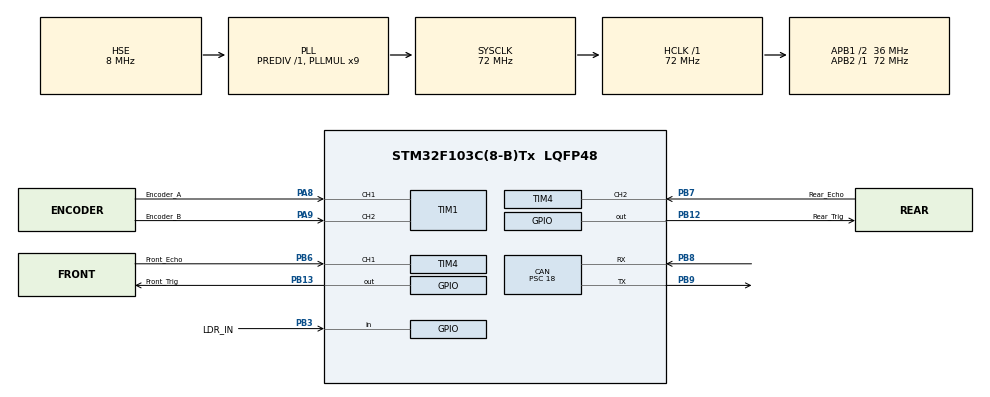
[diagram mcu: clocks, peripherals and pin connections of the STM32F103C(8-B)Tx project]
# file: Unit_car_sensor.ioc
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CAN.ABOM=ENABLE
CAN.BS1=CAN_BS1_2TQ
CAN.CalculateBaudRate=500000
CAN.CalculateTimeBit=2000
CAN.CalculateTimeQuantum=500.0
CAN.NART=ENABLE
CAN.Prescaler=18
CAN.SJW=CAN_SJW_2TQ
FREERTOS.Queues01=CANTxQueue,4,SensorData_t,0,Dynamic,NULL,NULL
FREERTOS.Tasks01=SensorTask,40,256,StartSensorTask,Default,NULL,Dynamic,NULL,NULL;CANTask,24,128,StartCANTask,Default,NULL,Dynamic,NULL,NULL
FREERTOS.configUSE_NEWLIB_REENTRANT=1
Mcu.Family=STM32F1
Mcu.Name=STM32F103C(8-B)Tx
Mcu.Package=LQFP48
NVIC.PriorityGroup=NVIC_PRIORITYGROUP_4
NVIC.TIM3_IRQn=true\:15\:0\:false\:false\:true\:false\:false\:true\:true
NVIC.TIM4_IRQn=true\:5\:0\:false\:false\:true\:true\:true\:true\:true
NVIC.TimeBase=TIM3_IRQn
NVIC.TimeBaseIP=TIM3
PA13.Mode=Serial_Wire
PA13.Signal=SYS_JTMS-SWDIO
PA14.Mode=Serial_Wire
PA14.Signal=SYS_JTCK-SWCLK
PA8.GPIO_Label=Encoder_A
PA8.Signal=S_TIM1_CH1
PA9.GPIO_Label=Encoder_B
PA9.Signal=S_TIM1_CH2
PB12.GPIO_Label=Rear_Trig
PB12.Signal=GPIO_Output
PB13.GPIO_Label=Front_Trig
PB13.Signal=GPIO_Output
PB3.GPIO_Label=LDR_IN
PB3.Signal=GPIO_Input
PB6.GPIO_Label=Front_Echo
PB6.Signal=S_TIM4_CH1
PB7.GPIO_Label=Rear_Echo
PB7.Signal=S_TIM4_CH2
PB8.Mode=CAN_Activate
PB8.Signal=CAN_RX
PB9.Mode=CAN_Activate
PB9.Signal=CAN_TX
PD0-OSC_IN.Mode=HSE-External-Oscillator
PD0-OSC_IN.Signal=RCC_OSC_IN
PD1-OSC_OUT.Mode=HSE-External-Oscillator
PD1-OSC_OUT.Signal=RCC_OSC_OUT
ProjectManager.HeapSize=0x200
ProjectManager.StackSize=0x400
ProjectManager.TargetToolchain=STM32CubeIDE
RCC.AHBFreq_Value=72000000
RCC.APB1CLKDivider=RCC_HCLK_DIV2
RCC.APB1Freq_Value=36000000
RCC.APB1TimFreq_Value=72000000
RCC.APB2Freq_Value=72000000
RCC.APB2TimFreq_Value=72000000
RCC.HCLKFreq_Value=72000000
RCC.PLLMUL=RCC_PLL_MUL9
RCC.PLLSourceVirtual=RCC_PLLSOURCE_HSE
RCC.SYSCLKFreq_VALUE=72000000
RCC.SYSCLKSource=RCC_SYSCLKSOURCE_PLLCLK
RCC.USBFreq_Value=72000000
SH.S_TIM1_CH1.0=TIM1_CH1,Encoder_Interface
SH.S_TIM1_CH2.0=TIM1_CH2,Encoder_Interface
SH.S_TIM4_CH1.0=TIM4_CH1,Input_Capture1_from_TI1
SH.S_TIM4_CH2.0=TIM4_CH2,Input_Capture2_from_TI2
TIM1.EncoderMode=TIM_ENCODERMODE_TI12
TIM1.IC1Filter=0
TIM1.IC2Filter=0
TIM2.Prescaler=72-1
TIM4.Channel-Input_Capture1_from_TI1=TIM_CHANNEL_1
TIM4.Channel-Input_Capture2_from_TI2=TIM_CHANNEL_2
TIM4.Prescaler=72-1
VP_FREERTOS_VS_CMSIS_V2.Mode=CMSIS_V2
VP_SYS_VS_tim3.Mode=TIM3
VP_TIM2_VS_ClockSourceINT.Mode=Internal
board=custom

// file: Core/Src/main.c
/* USER CODE BEGIN Header */
/**
  ******************************************************************************
  * @file           : main.c
  * @brief          : Main program body
  ******************************************************************************
  * @attention
  *
  * Copyright (c) 2025 STMicroelectronics.
  * All rights reserved.
  *
  * This software is licensed under terms that can be found in the LICENSE file
  * in the root directory of this software component.
  * If no LICENSE file comes with this software, it is provided AS-IS.
  *
  ******************************************************************************
  */
/* USER CODE END Header */
#include "main.h"
#include "cmsis_os.h"
#include "can.h"
#include "tim.h"
#include "gpio.h"

/* USER CODE BEGIN Includes */
#include "can_handler.h"
#include "ultrasonic.h"
#include "motor_encoder.h"
/* USER CODE END Includes */

void SystemClock_Config(void);
void MX_FREERTOS_Init(void);

int main(void)
{

  /* MCU Configuration--------------------------------------------------------*/

  /* Reset of all peripherals, Initializes the Flash interface and the Systick. */
  HAL_Init();

  /* Configure the system clock */
  SystemClock_Config();

  /* Initialize all configured peripherals */
  MX_GPIO_Init();
  MX_CAN_Init();
  MX_TIM2_Init();
  MX_TIM4_Init();
  MX_TIM1_Init();
  /* USER CODE BEGIN 2 */
  // RPM 계산에 사용할 정밀 타이머(DWT)를 초기화한다.
  DWT_Init();
  /* USER CODE END 2 */

  /* Init scheduler */
  osKernelInitialize();

  /* Call init function for freertos objects (in cmsis_os2.c) */
  MX_FREERTOS_Init();

  /* Start scheduler */
  osKernelStart();

  /* We should never get here as control is now taken by the scheduler */

  /* Infinite loop */
  while (1)
  {

  }
}

void SystemClock_Config(void)
{
  RCC_OscInitTypeDef RCC_OscInitStruct = {0};
  RCC_ClkInitTypeDef RCC_ClkInitStruct = {0};

  /** Initializes the RCC Oscillators according to the specified parameters
  * in the RCC_OscInitTypeDef structure.
  */
  RCC_OscInitStruct.OscillatorType = RCC_OSCILLATORTYPE_HSE;
  RCC_OscInitStruct.HSEState = RCC_HSE_ON;
  RCC_OscInitStruct.HSEPredivValue = RCC_HSE_PREDIV_DIV1;
  RCC_OscInitStruct.HSIState = RCC_HSI_ON;
  RCC_OscInitStruct.PLL.PLLState = RCC_PLL_ON;
  RCC_OscInitStruct.PLL.PLLSource = RCC_PLLSOURCE_HSE;
  RCC_OscInitStruct.PLL.PLLMUL = RCC_PLL_MUL9;
  if (HAL_RCC_OscConfig(&RCC_OscInitStruct) != HAL_OK)
  {
    Error_Handler();
  }

  /** Initializes the CPU, AHB and APB buses clocks
  */
  RCC_ClkInitStruct.ClockType = RCC_CLOCKTYPE_HCLK|RCC_CLOCKTYPE_SYSCLK
                              |RCC_CLOCKTYPE_PCLK1|RCC_CLOCKTYPE_PCLK2;
  RCC_ClkInitStruct.SYSCLKSource = RCC_SYSCLKSOURCE_PLLCLK;
  RCC_ClkInitStruct.AHBCLKDivider = RCC_SYSCLK_DIV1;
  RCC_ClkInitStruct.APB1CLKDivider = RCC_HCLK_DIV2;
  RCC_ClkInitStruct.APB2CLKDivider = RCC_HCLK_DIV1;

  if (HAL_RCC_ClockConfig(&RCC_ClkInitStruct, FLASH_LATENCY_2) != HAL_OK)
  {
    Error_Handler();
  }
}

void HAL_TIM_PeriodElapsedCallback(TIM_HandleTypeDef *htim)
{
  if (htim->Instance == TIM3)
  {
    HAL_IncTick();
  }
}

void Error_Handler(void)
{
  __disable_irq();
  while (1)
  {
  }
}

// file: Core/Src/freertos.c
/* USER CODE BEGIN Header */
/**
  ******************************************************************************
  * File Name          : freertos.c
  * Description        : Code for freertos applications
  ******************************************************************************
  * @attention
  *
  * Copyright (c) 2025 STMicroelectronics.
  * All rights reserved.
  *
  * This software is licensed under terms that can be found in the LICENSE file
  * in the root directory of this software component.
  * If no LICENSE file comes with this software, it is provided AS-IS.
  *
  ******************************************************************************
  */
/* USER CODE END Header */

#include "FreeRTOS.h"
#include "task.h"
#include "main.h"
#include "cmsis_os.h"

/* USER CODE BEGIN Includes */
#include "can_handler.h"
#include "ultrasonic.h"
#include "motor_encoder.h"
#include "tim.h"
/* USER CODE END Includes */

/* Definitions for SensorTask */
osThreadId_t SensorTaskHandle;
const osThreadAttr_t SensorTask_attributes = {
  .name = "SensorTask",
  .stack_size = 256 * 4,
  .priority = (osPriority_t) osPriorityHigh,
};
/* Definitions for CANTask */
osThreadId_t CANTaskHandle;
const osThreadAttr_t CANTask_attributes = {
  .name = "CANTask",
  .stack_size = 128 * 4,
  .priority = (osPriority_t) osPriorityNormal,
};
/* Definitions for CANTxQueue */
osMessageQueueId_t CANTxQueueHandle;
const osMessageQueueAttr_t CANTxQueue_attributes = {
  .name = "CANTxQueue"
};

void StartSensorTask(void *argument);
void StartCANTask(void *argument);

void MX_FREERTOS_Init(void); /* (MISRA C 2004 rule 8.1) */

void MX_FREERTOS_Init(void) {

  /* Create the queue(s) */
  /* creation of CANTxQueue */
  CANTxQueueHandle = osMessageQueueNew (4, sizeof(SensorData_t), &CANTxQueue_attributes);

  /* Create the thread(s) */
  /* creation of SensorTask */
  SensorTaskHandle = osThreadNew(StartSensorTask, NULL, &SensorTask_attributes);

  /* creation of CANTask */
  CANTaskHandle = osThreadNew(StartCANTask, NULL, &CANTask_attributes);

}

/* USER CODE BEGIN Header_StartSensorTask */
/**
  * @brief SensorTask는 주기적으로 각종 센서 데이터를 수집하여 CANTask로 전달하는 역할을 한다.
  * @note 10ms 주기로 동작하며, 초음파 센서, 엔코더(RPM), 조도 센서 값을 읽어와 큐(Queue)를 통해 전송한다.
  */
/* USER CODE END Header_StartSensorTask */
void StartSensorTask(void *argument)
{
  /* USER CODE BEGIN StartSensorTask */
	// --- SensorTask 초기화 ---
	Ultrasonic_Init(); // 초음파 센서 관련 타이머(TIM2, TIM4)를 초기화하고 시작한다.
	HAL_TIM_Encoder_Start(&htim1, TIM_CHANNEL_ALL); // 엔코더 입력을 위한 타이머(TIM1)를 시작한다.

	// osDelayUntil을 사용하기 위한 변수
	uint32_t last_wake_time = osKernelGetTickCount();
	const uint32_t period_ms = 10; // 10ms 주기
  /* Infinite loop */
	for(;;)
	  {
	    // 정확한 주기를 유지하기 위해 osDelayUntil을 사용한다.
	    // 다음 깨어날 시간을 계산한 후, 그 시간까지 Task를 지연시킨다.
	    last_wake_time += period_ms;
	    osDelayUntil(last_wake_time);

	    // 센서 데이터 수집
	    Update_Motor_RPM();   // 엔코더 값을 읽어 RPM을 계산한다.
	    Ultrasonic_Trigger(); // 초음파 센서 거리 측정을 시작한다.

	    SensorData_t sensor_packet; // CANTask로 전송할 데이터 패킷 구조체

	    // 데이터 패킷 채우기
	    sensor_packet.light_condition = HAL_GPIO_ReadPin(GPIOB, GPIO_PIN_3); // 조도 센서 값(GPIO)을 읽는다.
	    sensor_packet.rpm = MotorControl_GetRPM(); // 계산된 RPM 값을 가져온다.

	    // ISR(ultrasonic.c의 콜백 함수)에서 변경되는 전역 변수에 안전하게 접근하기 위해 Critical Section으로 보호한다.
	    taskENTER_CRITICAL();
	    sensor_packet.distance_front = distance_front; // 전방 거리 값을 복사한다.
	    sensor_packet.distance_rear = distance_rear;   // 후방 거리 값을 복사한다.
	    taskEXIT_CRITICAL();

	    // 채워진 데이터 패킷을 큐(CANTxQueueHandle)로 전송한다.
	    osMessageQueuePut(CANTxQueueHandle, &sensor_packet, 0, 0);
	  }
  /* USER CODE END StartSensorTask */
}

/* USER CODE BEGIN Header_StartCANTask */
/**
* @brief CANTask는 SensorTask로부터 큐를 통해 데이터를 수신하고, 이를 가공하여 CAN 버스로 전송하는 역할을 한다.
* @note 큐에 데이터가 들어올 때까지 대기(Block)하며, 수신된 데이터를 CAN 프로토콜에 맞는 형식으로 변환하여 송신한다.
*/
/* USER CODE END Header_StartCANTask */
void StartCANTask(void *argument)
{
  /* USER CODE BEGIN StartCANTask */

    CAN_tx_Init(); // CAN 통신 및 Tx 메시지 헤더를 초기화한다.

    SensorData_t received_packet; // SensorTask로부터 받을 데이터 패킷 구조체

    /* Infinite loop */
    for(;;)
    {
			// 큐(CANTxQueue)에 데이터가 들어올 때까지 무한정 대기한다.
			if (osMessageQueueGet(CANTxQueueHandle, &received_packet, NULL, osWaitForever) == osOK)
			{
        // --- 수신된 데이터를 CAN 전송 형식에 맞게 가공 ---

				// 1. 장애물 상태 데이터를 1바이트 비트마스크로 가공한다.
				uint8_t obstacle_status = 0; // 0으로 초기화 (장애물 없음)

				if (received_packet.distance_front <= 10) // 전방 10cm 이내에 장애물 감지 시
				{
					obstacle_status |= (1 << 0); // 0번 비트를 1로 세팅한다. (값: 1)
				}
				if (received_packet.distance_rear <= 10) // 후방 10cm 이내에 장애물 감지 시
				{
					obstacle_status |= (1 << 1); // 1번 비트를 1로 세팅한다. (값: 2)
				}
				TxData[0] = obstacle_status; // 최종 계산된 값을 TxData[0]에 할당한다.

				// 2. 조도 센서 상태를 1바이트로 가공한다 (SET이면 1, RESET이면 0)
				TxData[1] = (received_packet.light_condition == GPIO_PIN_SET);

				// 3. float 타입의 RPM 값을 2바이트 정수형으로 변환하여 저장한다.
				uint16_t rpm_value = (uint16_t)received_packet.rpm;
				// 하위 8비트(LSB)와 상위 8비트(MSB)로 분리한다.
				TxData[2] = (uint8_t)(rpm_value & 0x00FF);      // LSB
				TxData[3] = (uint8_t)((rpm_value >> 8) & 0x00FF); // MSB

				// 가공된 데이터가 담긴 TxData 배열을 CAN 버스로 전송한다.
				CAN_Send();
      }
    }
  /* USER CODE END StartCANTask */
}
